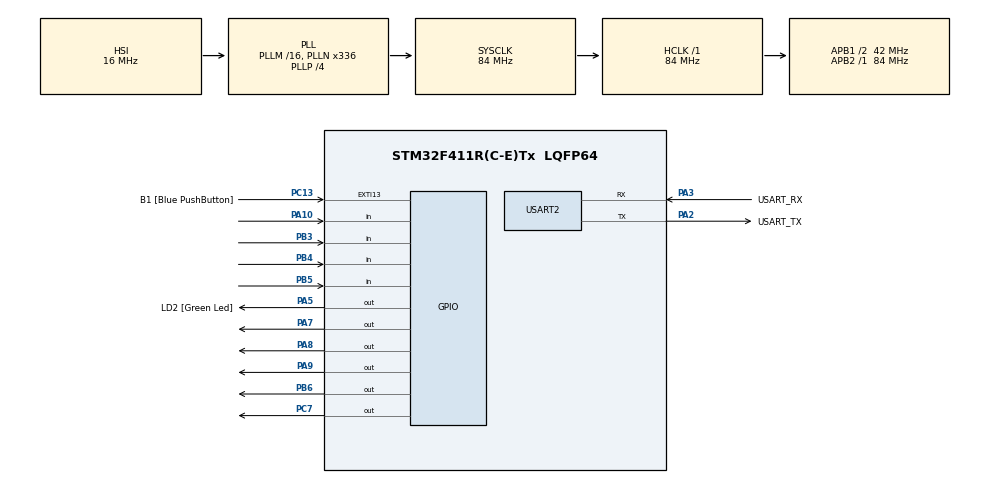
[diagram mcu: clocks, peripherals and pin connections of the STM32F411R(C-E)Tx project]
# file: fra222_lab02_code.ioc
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Mcu.Family=STM32F4
Mcu.Name=STM32F411R(C-E)Tx
Mcu.Package=LQFP64
NVIC.PriorityGroup=NVIC_PRIORITYGROUP_0
PA10.GPIO_Mode=GPIO_MODE_INPUT
PA10.GPIO_PuPd=GPIO_PULLUP
PA10.Signal=GPIO_Input
PA13.GPIO_Label=TMS
PA13.Mode=Serial_Wire
PA13.Signal=SYS_JTMS-SWDIO
PA14.GPIO_Label=TCK
PA14.Mode=Serial_Wire
PA14.Signal=SYS_JTCK-SWCLK
PA2.GPIO_Label=USART_TX
PA2.Mode=Asynchronous
PA2.Signal=USART2_TX
PA3.GPIO_Label=USART_RX
PA3.Mode=Asynchronous
PA3.Signal=USART2_RX
PA5.GPIO_Label=LD2 [Green Led]
PA5.Signal=GPIO_Output
PA7.GPIO_ModeDefaultOutputPP=GPIO_MODE_OUTPUT_OD
PA7.PinState=GPIO_PIN_SET
PA7.Signal=GPIO_Output
PA8.Signal=GPIO_Output
PA9.GPIO_ModeDefaultOutputPP=GPIO_MODE_OUTPUT_OD
PA9.PinState=GPIO_PIN_SET
PA9.Signal=GPIO_Output
PB3.GPIO_Mode=GPIO_MODE_INPUT
PB3.GPIO_PuPd=GPIO_PULLUP
PB3.Signal=GPIO_Input
PB4.GPIO_Mode=GPIO_MODE_INPUT
PB4.GPIO_PuPd=GPIO_PULLUP
PB4.Signal=GPIO_Input
PB5.GPIO_Mode=GPIO_MODE_INPUT
PB5.GPIO_PuPd=GPIO_PULLUP
PB5.Signal=GPIO_Input
PB6.GPIO_ModeDefaultOutputPP=GPIO_MODE_OUTPUT_OD
PB6.PinState=GPIO_PIN_SET
PB6.Signal=GPIO_Output
PC13-ANTI_TAMP.GPIO_Label=B1 [Blue PushButton]
PC13-ANTI_TAMP.GPIO_ModeDefaultEXTI=GPIO_MODE_IT_FALLING
PC13-ANTI_TAMP.Signal=GPXTI13
PC14-OSC32_IN.Mode=LSE-External-Oscillator
PC14-OSC32_IN.Signal=RCC_OSC32_IN
PC15-OSC32_OUT.Mode=LSE-External-Oscillator
PC15-OSC32_OUT.Signal=RCC_OSC32_OUT
PC7.GPIO_ModeDefaultOutputPP=GPIO_MODE_OUTPUT_OD
PC7.PinState=GPIO_PIN_SET
PC7.Signal=GPIO_Output
PH0\ -\ OSC_IN.Mode=HSE-External-Clock-Source
PH0\ -\ OSC_IN.Signal=RCC_OSC_IN
PH1\ -\ OSC_OUT.Mode=HSE-External-Clock-Source
PH1\ -\ OSC_OUT.Signal=RCC_OSC_OUT
ProjectManager.HeapSize=0x200
ProjectManager.StackSize=0x400
ProjectManager.TargetToolchain=STM32CubeIDE
RCC.48MHZClocksFreq_Value=84000000
RCC.AHBFreq_Value=84000000
RCC.APB1CLKDivider=RCC_HCLK_DIV2
RCC.APB1Freq_Value=42000000
RCC.APB1TimFreq_Value=84000000
RCC.APB2Freq_Value=84000000
RCC.APB2TimFreq_Value=84000000
RCC.CortexFreq_Value=84000000
RCC.FLatency-AdvancedSettings=FLASH_LATENCY_2
RCC.HCLKFreq_Value=84000000
RCC.HSE_VALUE=8000000
RCC.HSI_VALUE=16000000
RCC.PLLN=336
RCC.PLLP=RCC_PLLP_DIV4
RCC.SYSCLKFreq_VALUE=84000000
RCC.SYSCLKSource=RCC_SYSCLKSOURCE_PLLCLK
RCC.VCOOutputFreq_Value=336000000
USART2.VirtualMode=VM_ASYNC
board=NUCLEO-F411RE

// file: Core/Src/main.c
/* USER CODE BEGIN Header */
/**
 ******************************************************************************
 * @file           : main.c
 * @brief          : Main program body
 ******************************************************************************
 * @attention
 *
 * <h2><center>&copy; Copyright (c) 2021 STMicroelectronics.
 * All rights reserved.</center></h2>
 *
 * This software component is licensed by ST under BSD 3-Clause license,
 * the "License"; You may not use this file except in compliance with the
 * License. You may obtain a copy of the License at:
 *                        opensource.org/licenses/BSD-3-Clause
 *
 ******************************************************************************
 */
/* USER CODE END Header */
#include "main.h"

UART_HandleTypeDef huart2;

/* USER CODE BEGIN PV */

uint16_t ButtonMatrixState[2] = {0};
uint16_t ButtonMatrixHistory[12] = {0};  //memory last 11-bits
uint32_t ButtonMatrixTimestamp = 0;

/* USER CODE END PV */

void SystemClock_Config(void);
static void MX_GPIO_Init(void);
static void MX_USART2_UART_Init(void);
/* USER CODE BEGIN PFP */

void ButtonMatrixUpdate();
void ButtonMatrixCheck();

/* USER CODE END PFP */

int main(void)
{

  /* MCU Configuration--------------------------------------------------------*/

  /* Reset of all peripherals, Initializes the Flash interface and the Systick. */
  HAL_Init();

  /* Configure the system clock */
  SystemClock_Config();

  /* Initialize all configured peripherals */
  MX_GPIO_Init();
  MX_USART2_UART_Init();
  /* USER CODE BEGIN 2 */

  //set initial LED state OFF
  HAL_GPIO_WritePin(GPIOA, GPIO_PIN_8, GPIO_PIN_SET);

  /* USER CODE END 2 */

  /* Infinite loop */
	while (1)
	{

    /* USER CODE BEGIN 3 */

		ButtonMatrixUpdate();

		if (ButtonMatrixState[0]!=ButtonMatrixState[1] && ButtonMatrixState[1]==(uint16_t)0)
		{
			HAL_GPIO_WritePin(GPIOA, GPIO_PIN_8, GPIO_PIN_SET);

			switch (ButtonMatrixState[0])
			{
				case 0b0000000000000001:
					ButtonMatrixHistory[0] = 7;
					break;

				case 0b0000000000000010:
					ButtonMatrixHistory[0] = 8;
					break;

				case 0b0000000000000100:
					ButtonMatrixHistory[0] = 9;
					break;

				case 0b0000000000001000:
					//clear history
					for (int i = 0; i < 12; i += 1) {
						ButtonMatrixHistory[i] = 0;
					}
					break;

				case 0b0000000000010000:
					ButtonMatrixHistory[0] = 4;
					break;

				case 0b0000000000100000:
					ButtonMatrixHistory[0] = 5;
					break;

				case 0b0000000001000000:
					ButtonMatrixHistory[0] = 6;
					break;

				case 0b0000000010000000:
					//backspace
					for (int i = 0; i < 11; i += 1) {
						if (i == 10) {
							ButtonMatrixHistory[i] = 0;
						}
						else {
							ButtonMatrixHistory[i] = ButtonMatrixHistory[i+2];
						}
					}
					break;

				case 0b0000000100000000:
					ButtonMatrixHistory[0] = 1;
					break;

				case 0b0000001000000000:
					ButtonMatrixHistory[0] = 2;
					break;

				case 0b0000010000000000:
					ButtonMatrixHistory[0] = 3;
					break;

				case 0b0001000000000000:
					ButtonMatrixHistory[0] = 0;
					break;

				case 0b1000000000000000:
					//press ok
					ButtonMatrixCheck();  //check
					for (int i = 0; i < 11; i += 1) {
						ButtonMatrixHistory[i] = ButtonMatrixHistory[i+1];
					}
					break;

				default:
					//pass
					for (int i = 0; i < 11; i += 1) {
						ButtonMatrixHistory[i] = ButtonMatrixHistory[i+1];
					}
					break;
			}
			//update history
			for (int i = 11; i > 0; i -= 1) {
				ButtonMatrixHistory[i] = ButtonMatrixHistory[i-1];
			}
		}

		ButtonMatrixState[1] = ButtonMatrixState[0];
	}
  /* USER CODE END 3 */
}

void SystemClock_Config(void)
{
  RCC_OscInitTypeDef RCC_OscInitStruct = {0};
  RCC_ClkInitTypeDef RCC_ClkInitStruct = {0};

  /** Configure the main internal regulator output voltage
  */
  __HAL_RCC_PWR_CLK_ENABLE();
  __HAL_PWR_VOLTAGESCALING_CONFIG(PWR_REGULATOR_VOLTAGE_SCALE1);
  /** Initializes the RCC Oscillators according to the specified parameters
  * in the RCC_OscInitTypeDef structure.
  */
  RCC_OscInitStruct.OscillatorType = RCC_OSCILLATORTYPE_HSI;
  RCC_OscInitStruct.HSIState = RCC_HSI_ON;
  RCC_OscInitStruct.HSICalibrationValue = RCC_HSICALIBRATION_DEFAULT;
  RCC_OscInitStruct.PLL.PLLState = RCC_PLL_ON;
  RCC_OscInitStruct.PLL.PLLSource = RCC_PLLSOURCE_HSI;
  RCC_OscInitStruct.PLL.PLLM = 16;
  RCC_OscInitStruct.PLL.PLLN = 336;
  RCC_OscInitStruct.PLL.PLLP = RCC_PLLP_DIV4;
  RCC_OscInitStruct.PLL.PLLQ = 4;
  if (HAL_RCC_OscConfig(&RCC_OscInitStruct) != HAL_OK)
  {
    Error_Handler();
  }
  /** Initializes the CPU, AHB and APB buses clocks
  */
  RCC_ClkInitStruct.ClockType = RCC_CLOCKTYPE_HCLK|RCC_CLOCKTYPE_SYSCLK
                              |RCC_CLOCKTYPE_PCLK1|RCC_CLOCKTYPE_PCLK2;
  RCC_ClkInitStruct.SYSCLKSource = RCC_SYSCLKSOURCE_PLLCLK;
  RCC_ClkInitStruct.AHBCLKDivider = RCC_SYSCLK_DIV1;
  RCC_ClkInitStruct.APB1CLKDivider = RCC_HCLK_DIV2;
  RCC_ClkInitStruct.APB2CLKDivider = RCC_HCLK_DIV1;

  if (HAL_RCC_ClockConfig(&RCC_ClkInitStruct, FLASH_LATENCY_2) != HAL_OK)
  {
    Error_Handler();
  }
}

static void MX_USART2_UART_Init(void)
{

  huart2.Instance = USART2;
  huart2.Init.BaudRate = 115200;
  huart2.Init.WordLength = UART_WORDLENGTH_8B;
  huart2.Init.StopBits = UART_STOPBITS_1;
  huart2.Init.Parity = UART_PARITY_NONE;
  huart2.Init.Mode = UART_MODE_TX_RX;
  huart2.Init.HwFlowCtl = UART_HWCONTROL_NONE;
  huart2.Init.OverSampling = UART_OVERSAMPLING_16;
  if (HAL_UART_Init(&huart2) != HAL_OK)
  {
    Error_Handler();
  }

}

static void MX_GPIO_Init(void)
{
  GPIO_InitTypeDef GPIO_InitStruct = {0};

  /* GPIO Ports Clock Enable */
  __HAL_RCC_GPIOC_CLK_ENABLE();
  __HAL_RCC_GPIOH_CLK_ENABLE();
  __HAL_RCC_GPIOA_CLK_ENABLE();
  __HAL_RCC_GPIOB_CLK_ENABLE();

  /*Configure GPIO pin Output Level */
  HAL_GPIO_WritePin(GPIOA, LD2_Pin|GPIO_PIN_8, GPIO_PIN_RESET);

  /*Configure GPIO pin Output Level */
  HAL_GPIO_WritePin(GPIOA, GPIO_PIN_7|GPIO_PIN_9, GPIO_PIN_SET);

  /*Configure GPIO pin Output Level */
  HAL_GPIO_WritePin(GPIOC, GPIO_PIN_7, GPIO_PIN_SET);

  /*Configure GPIO pin Output Level */
  HAL_GPIO_WritePin(GPIOB, GPIO_PIN_6, GPIO_PIN_SET);

  /*Configure GPIO pin : B1_Pin */
  GPIO_InitStruct.Pin = B1_Pin;
  GPIO_InitStruct.Mode = GPIO_MODE_IT_FALLING;
  GPIO_InitStruct.Pull = GPIO_NOPULL;
  HAL_GPIO_Init(B1_GPIO_Port, &GPIO_InitStruct);

  /*Configure GPIO pins : LD2_Pin PA8 */
  GPIO_InitStruct.Pin = LD2_Pin|GPIO_PIN_8;
  GPIO_InitStruct.Mode = GPIO_MODE_OUTPUT_PP;
  GPIO_InitStruct.Pull = GPIO_NOPULL;
  GPIO_InitStruct.Speed = GPIO_SPEED_FREQ_LOW;
  HAL_GPIO_Init(GPIOA, &GPIO_InitStruct);

  /*Configure GPIO pins : PA7 PA9 */
  GPIO_InitStruct.Pin = GPIO_PIN_7|GPIO_PIN_9;
  GPIO_InitStruct.Mode = GPIO_MODE_OUTPUT_OD;
  GPIO_InitStruct.Pull = GPIO_NOPULL;
  GPIO_InitStruct.Speed = GPIO_SPEED_FREQ_LOW;
  HAL_GPIO_Init(GPIOA, &GPIO_InitStruct);

  /*Configure GPIO pin : PC7 */
  GPIO_InitStruct.Pin = GPIO_PIN_7;
  GPIO_InitStruct.Mode = GPIO_MODE_OUTPUT_OD;
  GPIO_InitStruct.Pull = GPIO_NOPULL;
  GPIO_InitStruct.Speed = GPIO_SPEED_FREQ_LOW;
  HAL_GPIO_Init(GPIOC, &GPIO_InitStruct);

  /*Configure GPIO pin : PA10 */
  GPIO_InitStruct.Pin = GPIO_PIN_10;
  GPIO_InitStruct.Mode = GPIO_MODE_INPUT;
  GPIO_InitStruct.Pull = GPIO_PULLUP;
  HAL_GPIO_Init(GPIOA, &GPIO_InitStruct);

  /*Configure GPIO pins : PB3 PB4 PB5 */
  GPIO_InitStruct.Pin = GPIO_PIN_3|GPIO_PIN_4|GPIO_PIN_5;
  GPIO_InitStruct.Mode = GPIO_MODE_INPUT;
  GPIO_InitStruct.Pull = GPIO_PULLUP;
  HAL_GPIO_Init(GPIOB, &GPIO_InitStruct);

  /*Configure GPIO pin : PB6 */
  GPIO_InitStruct.Pin = GPIO_PIN_6;
  GPIO_InitStruct.Mode = GPIO_MODE_OUTPUT_OD;
  GPIO_InitStruct.Pull = GPIO_NOPULL;
  GPIO_InitStruct.Speed = GPIO_SPEED_FREQ_LOW;
  HAL_GPIO_Init(GPIOB, &GPIO_InitStruct);

}

/* USER CODE BEGIN 4 */

//input: PA10, PB3, PB5, PB4 / output: PA9, PC7, PB6, PA7
//index input: 0-3 / output: 4-7

GPIO_TypeDef *ButtonPort[8] =
{ GPIOA, GPIOB, GPIOB, GPIOB, GPIOA, GPIOC, GPIOB, GPIOA };

uint16_t ButtonPin[8] =
{ GPIO_PIN_10, GPIO_PIN_3, GPIO_PIN_5, GPIO_PIN_4, GPIO_PIN_9, GPIO_PIN_7,
GPIO_PIN_6, GPIO_PIN_7 };

uint8_t Button_row = 0;

void ButtonMatrixUpdate()
{
	if (HAL_GetTick() - ButtonMatrixTimestamp >= 25)  //sampling 25ms (delay)
	{
		ButtonMatrixTimestamp = HAL_GetTick();  //update time

		for (int Button_column = 0; Button_column < 4; Button_column += 1)
		{
			GPIO_PinState PinState = HAL_GPIO_ReadPin(ButtonPort[Button_column], ButtonPin[Button_column]);

			if (PinState == GPIO_PIN_RESET)
			{
				ButtonMatrixState[0] |= (uint16_t) 1 << (Button_column + Button_row * 4);
			}
			else
			{
				ButtonMatrixState[0] &= ~((uint16_t) 1 << (Button_column + Button_row * 4));
			}
		}
		//Set current-Output pin
		HAL_GPIO_WritePin(ButtonPort[Button_row + 4], ButtonPin[Button_row + 4], GPIO_PIN_SET);

		//update new row
		Button_row = (Button_row + 1) % 4;

		//Reset next-Output pin
		HAL_GPIO_WritePin(ButtonPort[Button_row + 4], ButtonPin[Button_row + 4], GPIO_PIN_RESET);
	}
}

void ButtonMatrixCheck()
{
	if (ButtonMatrixHistory[11] == 6 &&
		ButtonMatrixHistory[10] == 2 &&
		ButtonMatrixHistory[9] == 3 &&
		ButtonMatrixHistory[8] == 4 &&
		ButtonMatrixHistory[7] == 0 &&
		ButtonMatrixHistory[6] == 5 &&
		ButtonMatrixHistory[5] == 0 &&
		ButtonMatrixHistory[4] == 0 &&
		ButtonMatrixHistory[3] == 0 &&
		ButtonMatrixHistory[2] == 0 &&
		ButtonMatrixHistory[1] == 2 )
	{
		//turn ON LED
		HAL_GPIO_WritePin(GPIOA, GPIO_PIN_8, GPIO_PIN_RESET);
	}
}

/* USER CODE END 4 */

void Error_Handler(void)
{
	__disable_irq();
	while (1)
	{
	}
}

/************************ (C) COPYRIGHT STMicroelectronics *****END OF FILE****/
